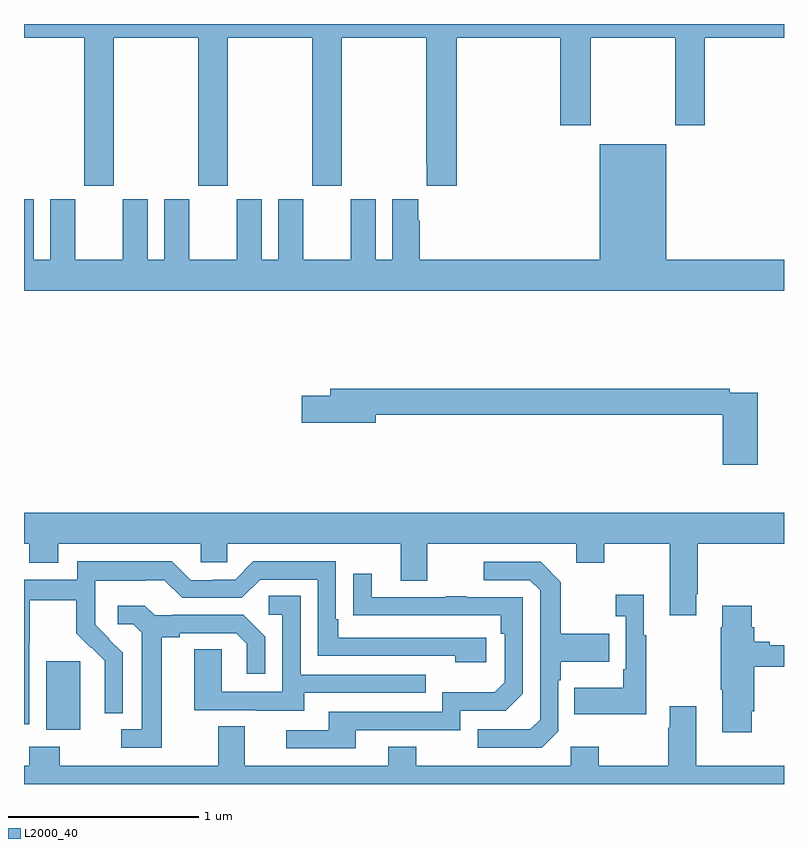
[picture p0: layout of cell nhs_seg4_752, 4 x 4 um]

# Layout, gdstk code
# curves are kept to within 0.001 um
import gdstk
lib = gdstk.Library(unit=1e-6, precision=1e-09)
def R(c, l, rs):  # rectangles x0, y0, x1, y1
    for r in rs: c.add(gdstk.rectangle(r[:2], r[2:], *l))
def P(c, l, *ps):  # polygons
    for p in ps: c.add(gdstk.Polygon(p, *l))
L2000_40 = (2000, 40)

nhs_seg4_752 = lib.new_cell('nhs_seg4_752')
R(nhs_seg4_752, L2000_40, [(149.117,785.186,149.296,785.547)])
P(nhs_seg4_752, L2000_40, [(149.472,788.828),(149.917,788.828),(149.917,788.049),(150.072,788.049),(150.072,788.828),(150.517,788.828),(150.517,788.049),(150.672,788.049),(150.672,788.828),(151.117,788.828),(151.117,788.161),(151.121,788.161),(151.121,788.049),(151.277,788.049),(151.277,788.828),(151.823,788.828),(151.823,788.367),(151.983,788.367),(151.983,788.828),(152.428,788.828),(152.428,788.367),(152.583,788.367),(152.583,788.828),(153,788.828),(153,788.9),(149,788.9),(149,788.828),(149.317,788.828),(149.317,788.049),(149.472,788.049)],
  [(149.738,787.978),(149.738,787.66),(149.65,787.66),(149.65,787.978),(149.519,787.978),(149.519,787.66),(149.269,787.66),(149.269,787.978),(149.138,787.978),(149.138,787.66),(149.05,787.66),(149.05,787.978),(149,787.978),(149,787.496),(153,787.496),(153,787.66),(152.38,787.66),(152.38,788.266),(152.03,788.266),(152.03,787.66),(151.082,787.66),(151.082,787.865),(151.075,787.865),(151.075,787.978),(150.938,787.978),(150.938,787.66),(150.85,787.66),(150.85,787.978),(150.719,787.978),(150.719,787.66),(150.469,787.66),(150.469,787.978),(150.338,787.978),(150.338,787.66),(150.25,787.66),(150.25,787.978),(150.119,787.978),(150.119,787.66),(149.869,787.66),(149.869,787.978)],
  [(152.861,786.96),(152.714,786.96),(152.714,786.98),(150.611,786.98),(150.611,786.944),(150.462,786.944),(150.462,786.802),(150.85,786.802),(150.85,786.844),(152.678,786.844),(152.678,786.579),(152.861,786.579)],
  [(152.539,785.899),(152.547,785.899),(152.547,786.164),(153,786.164),(153,786.328),(149,786.328),(149,786.164),(149.027,786.164),(149.027,786.065),(149.179,786.065),(149.179,786.164),(149.931,786.164),(149.931,786.066),(150.069,786.066),(150.069,786.164),(150.983,786.164),(150.983,785.97),(151.123,785.97),(151.123,786.164),(151.907,786.164),(151.907,786.065),(152.055,786.065),(152.055,786.164),(152.399,786.164),(152.399,785.787),(152.539,785.787)],
  [(149.028,785.644),(149.031,785.644),(149.031,785.868),(149.275,785.868),(149.275,785.693),(149.352,785.616),(149.355,785.619),(149.426,785.549),(149.426,785.426),(149.424,785.426),(149.424,785.272),(149.52,785.272),(149.52,785.59),(149.374,785.738),(149.374,785.835),(149.376,785.835),(149.376,785.969),(149.639,785.969),(149.639,785.973),(149.739,785.973),(149.832,785.88),(150.147,785.88),(150.243,785.976),(150.546,785.976),(150.546,785.574),(151.271,785.574),(151.271,785.54),(151.432,785.54),(151.432,785.67),(150.655,785.67),(150.655,785.767),(150.642,785.767),(150.642,786.072),(150.207,786.072),(150.111,785.976),(149.993,785.976),(149.993,785.973),(149.877,785.973),(149.777,786.073),(149.28,786.073),(149.28,785.976),(149,785.976),(149,785.215),(149.028,785.215)],
  [(151.812,785.178),(151.812,785.447),(151.825,785.447),(151.825,785.543),(152.081,785.543),(152.081,785.691),(151.825,785.691),(151.825,785.963),(151.719,786.069),(151.419,786.069),(151.419,785.973),(151.662,785.973),(151.716,785.919),(151.716,785.238),(151.665,785.187),(151.389,785.187),(151.389,785.091),(151.725,785.091)],
  [(150.745,785.184),(151.296,785.184),(151.296,785.286),(151.536,785.286),(151.626,785.376),(151.626,785.883),(151.331,785.883),(151.331,785.888),(151.219,785.888),(151.219,785.883),(150.829,785.883),(150.829,786.007),(150.733,786.007),(150.733,785.788),(151.51,785.787),(151.51,785.69),(151.53,785.69),(151.53,785.436),(151.477,785.383),(151.2,785.383),(151.2,785.28),(150.605,785.28),(150.605,785.184),(150.381,785.184),(150.381,785.088),(150.745,785.088)],
  [(152.275,785.683),(152.263,785.683),(152.263,785.896),(152.115,785.896),(152.115,785.783),(152.166,785.783),(152.166,785.503),(152.154,785.503),(152.154,785.407),(151.897,785.407),(151.897,785.267),(152.275,785.267)],
  [(150.475,785.379),(151.115,785.379),(151.115,785.475),(150.456,785.475),(150.456,785.891),(150.288,785.891),(150.288,785.79),(150.36,785.79),(150.36,785.385),(150.042,785.385),(150.042,785.609),(149.897,785.609),(149.897,785.289),(150.221,785.289),(150.221,785.285),(150.475,785.285)],
  [(152.83,785.284),(152.843,785.284),(152.843,785.516),(153,785.516),(153,785.629),(152.926,785.629),(152.926,785.648),(152.843,785.648),(152.843,785.726),(152.83,785.726),(152.83,785.839),(152.675,785.839),(152.675,785.726),(152.668,785.726),(152.668,785.395),(152.675,785.395),(152.675,785.172),(152.83,785.172)],
  [(149.725,785.672),(149.821,785.672),(149.821,785.694),(150.116,785.694),(150.173,785.637),(150.173,785.481),(150.27,785.481),(150.27,785.674),(150.154,785.79),(149.782,785.79),(149.782,785.787),(149.688,785.787),(149.636,785.839),(149.493,785.839),(149.493,785.742),(149.574,785.742),(149.621,785.695),(149.621,785.187),(149.511,785.187),(149.511,785.091),(149.725,785.091)],
  [(153,784.996),(152.539,784.996),(152.539,785.308),(152.399,785.308),(152.399,785.195),(152.392,785.195),(152.392,784.996),(152.025,784.996),(152.025,785.095),(151.878,785.095),(151.878,784.996),(151.065,784.996),(151.065,785.095),(150.917,785.095),(150.917,784.996),(150.163,784.996),(150.163,785.204),(150.023,785.204),(150.023,784.996),(149.187,784.996),(149.187,785.095),(149.027,785.095),(149.027,784.996),(149,784.996),(149,784.9),(153,784.9)])

lib.write_gds('nhs_seg4_752.gds')
